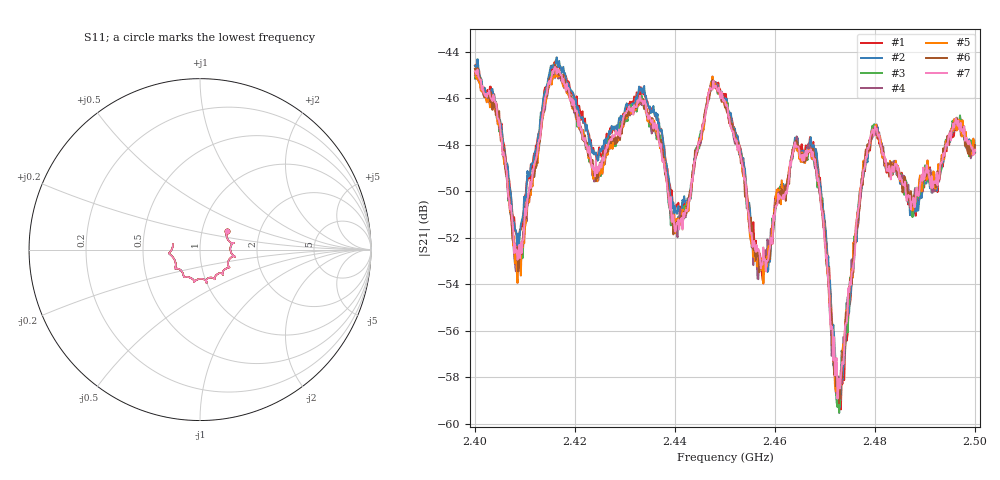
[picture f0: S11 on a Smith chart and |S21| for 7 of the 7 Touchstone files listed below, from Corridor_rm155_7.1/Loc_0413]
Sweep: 2.4 GHz to 2.5 GHz
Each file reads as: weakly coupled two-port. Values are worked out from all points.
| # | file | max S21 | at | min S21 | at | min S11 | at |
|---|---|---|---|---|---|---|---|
| 1 | Lab_139_2Ch1.s2p | -44.38 dB | 2.4162 GHz | -59.4 dB | 2.4732 GHz | -15.9 dB | 2.49 GHz |
| 2 | Lab_139_3Ch1.s2p | -44.24 dB | 2.4163 GHz | -59.3 dB | 2.473 GHz | -15.9 dB | 2.49 GHz |
| 3 | Lab_139_5Ch1.s2p | -44.73 dB | 2.4002 GHz | -59.5 dB | 2.4728 GHz | -15.9 dB | 2.49 GHz |
| 4 | Lab_139_6Ch1.s2p | -44.83 dB | 2.4002 GHz | -58.8 dB | 2.4725 GHz | -15.9 dB | 2.49 GHz |
| 5 | Lab_139_7Ch1.s2p | -44.73 dB | 2.4 GHz | -58.6 dB | 2.4725 GHz | -15.9 dB | 2.4902 GHz |
| 6 | Lab_139_9Ch1.s2p | -44.56 dB | 2.416 GHz | -59.1 dB | 2.4728 GHz | -15.9 dB | 2.49 GHz |
| 7 | Lab_139_10Ch1.s2p | -44.65 dB | 2.416 GHz | -58.9 dB | 2.4725 GHz | -15.9 dB | 2.4993 GHz |
